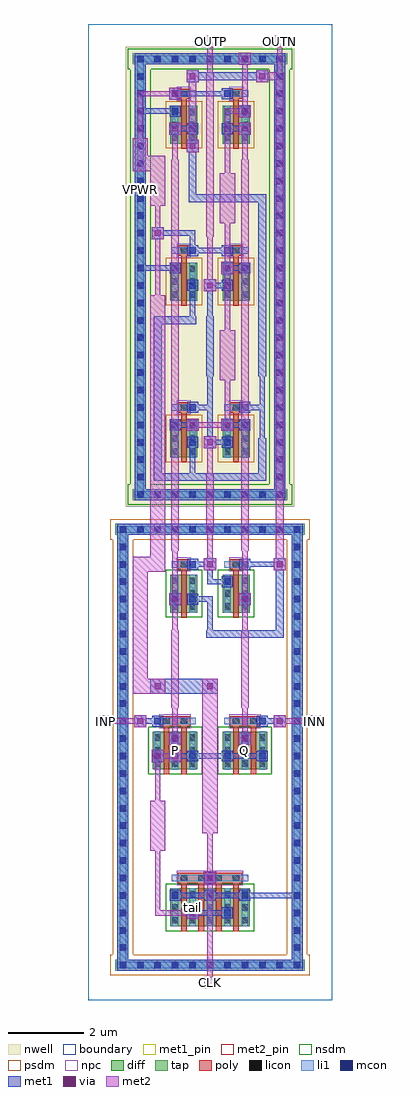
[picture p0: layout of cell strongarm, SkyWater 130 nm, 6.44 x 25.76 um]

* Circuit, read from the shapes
.subckt strongarm CLK INN INP OUTN OUTP P Q VGND VPWR tail
XM1 P INP tail VGND sky130_fd_pr__nfet_01v8 w=1 l=0.15 m=2
XM2 tail CLK VGND VGND sky130_fd_pr__nfet_01v8 w=1 l=0.15 m=4
XM3 OUTN OUTP P VGND sky130_fd_pr__nfet_01v8 w=1 l=0.15
XM4 Q INN tail VGND sky130_fd_pr__nfet_01v8 w=1 l=0.15 m=2
XM5 Q OUTN OUTP VGND sky130_fd_pr__nfet_01v8 w=1 l=0.15
XM6 OUTN OUTP VPWR VPWR sky130_fd_pr__pfet_01v8 w=1 l=0.15
XM7 OUTN CLK VPWR VPWR sky130_fd_pr__pfet_01v8 w=1 l=0.15
XM8 P CLK VPWR VPWR sky130_fd_pr__pfet_01v8 w=1 l=0.15
XM9 VPWR OUTN OUTP VPWR sky130_fd_pr__pfet_01v8 w=1 l=0.15
XM10 VPWR CLK OUTP VPWR sky130_fd_pr__pfet_01v8 w=1 l=0.15
XM11 VPWR CLK Q VPWR sky130_fd_pr__pfet_01v8 w=1 l=0.15
.ends

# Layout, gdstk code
import gdstk
lib = gdstk.Library(unit=1e-6, precision=1e-09)
def R(c, l, rs):  # rectangles x0, y0, x1, y1
    for r in rs: c.add(gdstk.rectangle(r[:2], r[2:], *l))
def A(c, l, x, y, w, h, nx, ny, dx, dy):  # array of equal rectangles
    R(c, l, [(x+i*dx, y+j*dy, x+i*dx+w, y+j*dy+h) for i in range(nx) for j in range(ny)])
nwell = (64, 20)
diff = (65, 20)
tap = (65, 44)
poly = (66, 20)
licon = (66, 44)
li1 = (67, 20)
mcon = (67, 44)
met1_pin = (68, 16)
met1 = (68, 20)
via = (68, 44)
met2_pin = (69, 16)
met2 = (69, 20)
nsdm = (93, 44)
psdm = (94, 20)
npc = (95, 20)
boundary = (235, 4)

strongarm = lib.new_cell('strongarm')
R(strongarm, nwell, [(0.995,13.015,5.445,25.165)])
A(strongarm, diff, 2.175, 14.32, 0.71, 1, 1, 3, 0, 4.14)
A(strongarm, diff, 3.555, 14.32, 0.71, 1, 1, 3, 0, 4.14)
R(strongarm, diff, [(2.175,1.945,4.265,2.945), (1.715,6.085,2.885,7.085), (3.555,6.085,4.725,7.085), (2.175,10.225,2.885,11.225), (3.555,10.225,4.265,11.225)])
R(strongarm, tap, [(0.715,0.775,5.725,1.065), (0.775,0.775,1.065,12.565), (5.375,0.775,5.665,12.565), (0.715,12.275,5.725,12.565), (1.175,13.195,5.265,13.485), (1.235,13.195,1.525,24.985), (4.915,13.195,5.205,24.985), (1.175,24.695,5.265,24.985)])
A(strongarm, poly, 2.455, 1.815, 0.15, 1.405, 4, 1, 0.46, 0)
A(strongarm, poly, 2.365, 11.365, 0.33, 0.27, 1, 4, 0, 4.14)
A(strongarm, poly, 3.745, 11.365, 0.33, 0.27, 1, 4, 0, 4.14)
A(strongarm, poly, 2.455, 14.19, 0.15, 1.45, 1, 3, 0, 4.14)
A(strongarm, poly, 3.835, 14.19, 0.15, 1.45, 1, 3, 0, 4.14)
R(strongarm, poly, [(2.365,3.085,4.075,3.355), (1.995,5.955,2.145,7.36), (2.455,5.955,2.605,7.36), (3.835,5.955,3.985,7.36), (4.295,5.955,4.445,7.36), (1.905,7.225,2.695,7.495), (3.745,7.225,4.535,7.495), (2.455,10.095,2.605,11.5), (3.835,10.095,3.985,11.5)])
A(strongarm, licon, 0.835, 0.835, 0.17, 0.17, 11, 2, 0.46, 11.5)
A(strongarm, licon, 0.835, 1.295, 0.17, 0.17, 1, 24, 0, 0.46)
A(strongarm, licon, 5.435, 1.295, 0.17, 0.17, 1, 24, 0, 0.46)
A(strongarm, licon, 2.215, 2.02, 0.17, 0.17, 5, 3, 0.46, 0.34)
A(strongarm, licon, 2.445, 3.135, 0.17, 0.17, 4, 1, 0.46, 0)
A(strongarm, licon, 1.755, 6.16, 0.17, 0.17, 3, 3, 0.46, 0.34)
A(strongarm, licon, 3.595, 6.16, 0.17, 0.17, 3, 3, 0.46, 0.34)
A(strongarm, licon, 2.445, 7.275, 0.17, 0.17, 1, 5, 0, 4.14)
A(strongarm, licon, 3.825, 7.275, 0.17, 0.17, 1, 5, 0, 4.14)
A(strongarm, licon, 2.215, 10.3, 0.17, 0.17, 1, 3, 0, 0.34)
A(strongarm, licon, 2.675, 10.3, 0.17, 0.17, 1, 3, 0, 0.34)
A(strongarm, licon, 3.595, 10.3, 0.17, 0.17, 1, 3, 0, 0.34)
A(strongarm, licon, 4.055, 10.3, 0.17, 0.17, 1, 3, 0, 0.34)
A(strongarm, licon, 1.295, 13.255, 0.17, 0.17, 9, 2, 0.46, 11.5)
A(strongarm, licon, 1.295, 13.715, 0.17, 0.17, 1, 24, 0, 0.46)
A(strongarm, licon, 4.975, 13.715, 0.17, 0.17, 1, 24, 0, 0.46)
A(strongarm, licon, 2.215, 14.395, 0.17, 0.17, 1, 3, 0, 0.34)
A(strongarm, licon, 2.675, 14.395, 0.17, 0.17, 1, 3, 0, 0.34)
A(strongarm, licon, 3.595, 14.395, 0.17, 0.17, 1, 3, 0, 0.34)
A(strongarm, licon, 4.055, 14.395, 0.17, 0.17, 1, 3, 0, 0.34)
A(strongarm, licon, 2.215, 18.535, 0.17, 0.17, 1, 3, 0, 0.34)
A(strongarm, licon, 2.675, 18.535, 0.17, 0.17, 1, 3, 0, 0.34)
A(strongarm, licon, 3.595, 18.535, 0.17, 0.17, 1, 3, 0, 0.34)
A(strongarm, licon, 4.055, 18.535, 0.17, 0.17, 1, 3, 0, 0.34)
A(strongarm, licon, 2.215, 22.675, 0.17, 0.17, 1, 3, 0, 0.34)
A(strongarm, licon, 2.675, 22.675, 0.17, 0.17, 1, 3, 0, 0.34)
A(strongarm, licon, 3.595, 22.675, 0.17, 0.17, 1, 3, 0, 0.34)
A(strongarm, licon, 4.055, 22.675, 0.17, 0.17, 1, 3, 0, 0.34)
R(strongarm, licon, [(1.985,7.275,2.155,7.445), (4.285,7.275,4.455,7.445)])
A(strongarm, li1, 2.215, 1.94, 0.17, 1.01, 5, 1, 0.46, 0)
A(strongarm, li1, 1.755, 6.08, 0.17, 1.01, 3, 1, 0.46, 0)
A(strongarm, li1, 3.595, 6.08, 0.17, 1.01, 3, 1, 0.46, 0)
A(strongarm, li1, 2.215, 11.415, 0.63, 0.17, 1, 4, 0, 4.14)
A(strongarm, li1, 3.595, 11.415, 0.63, 0.17, 1, 4, 0, 4.14)
A(strongarm, li1, 2.215, 14.315, 0.17, 1.01, 1, 3, 0, 4.14)
A(strongarm, li1, 2.675, 14.315, 0.17, 1.01, 1, 3, 0, 4.14)
A(strongarm, li1, 3.595, 14.315, 0.17, 1.01, 1, 3, 0, 4.14)
A(strongarm, li1, 4.055, 14.315, 0.17, 1.01, 1, 3, 0, 4.14)
R(strongarm, li1, [(0.755,0.835,5.685,1.005), (0.835,0.835,1.005,12.505), (5.435,0.835,5.605,12.505), (2.215,3.135,4.225,3.305), (1.755,7.275,2.845,7.445), (3.595,7.275,4.685,7.445), (2.215,10.22,2.385,11.23), (2.675,10.22,2.845,11.23), (3.595,10.22,3.765,11.23), (4.055,10.22,4.225,11.23), (0.755,12.335,5.685,12.505), (1.215,13.255,5.225,13.425), (1.295,13.255,1.465,24.925), (4.975,13.255,5.145,24.925), (1.215,24.755,5.225,24.925)])
A(strongarm, mcon, 0.835, 0.835, 0.17, 0.17, 11, 2, 0.46, 11.5)
A(strongarm, mcon, 0.835, 1.295, 0.17, 0.17, 1, 4, 0, 0.46)
A(strongarm, mcon, 5.435, 1.295, 0.17, 0.17, 1, 4, 0, 0.46)
A(strongarm, mcon, 2.215, 2.675, 0.17, 0.17, 3, 1, 0.92, 0)
A(strongarm, mcon, 0.835, 3.135, 0.17, 0.17, 3, 1, 2.3, 0)
A(strongarm, mcon, 0.835, 3.595, 0.17, 0.17, 1, 6, 0, 0.46)
A(strongarm, mcon, 5.435, 3.595, 0.17, 0.17, 1, 6, 0, 0.46)
A(strongarm, mcon, 0.835, 6.355, 0.17, 0.17, 6, 1, 0.92, 0)
A(strongarm, mcon, 0.835, 6.815, 0.17, 0.17, 1, 12, 0, 0.46)
A(strongarm, mcon, 5.435, 6.815, 0.17, 0.17, 1, 8, 0, 0.46)
A(strongarm, mcon, 2.675, 10.495, 0.17, 0.17, 3, 2, 1.38, 0.92)
A(strongarm, mcon, 1.295, 13.255, 0.17, 0.17, 9, 2, 0.46, 11.5)
A(strongarm, mcon, 1.295, 13.715, 0.17, 0.17, 1, 4, 0, 0.46)
A(strongarm, mcon, 4.975, 13.715, 0.17, 0.17, 1, 22, 0, 0.46)
A(strongarm, mcon, 2.215, 15.095, 0.17, 0.17, 1, 3, 0, 4.14)
A(strongarm, mcon, 4.055, 15.095, 0.17, 0.17, 1, 3, 0, 4.14)
A(strongarm, mcon, 1.295, 15.555, 0.17, 0.17, 3, 1, 1.38, 0)
A(strongarm, mcon, 1.295, 16.015, 0.17, 0.17, 1, 19, 0, 0.46)
A(strongarm, mcon, 2.215, 23.835, 0.17, 0.17, 3, 1, 1.38, 0)
R(strongarm, mcon, [(2.675,2.215,2.845,2.385), (3.595,2.215,3.765,2.385), (2.215,6.815,2.385,6.985), (4.055,6.815,4.225,6.985), (1.755,7.275,1.925,7.445), (4.515,7.275,4.685,7.445), (2.215,10.495,2.385,10.665), (3.595,10.955,3.765,11.125), (5.435,10.955,5.605,11.125), (5.435,11.875,5.605,12.045), (2.675,14.635,2.845,14.805), (3.595,14.635,3.765,14.805), (2.675,18.775,2.845,18.945), (3.595,18.775,3.765,18.945), (2.675,19.695,2.845,19.865), (3.595,19.695,3.765,19.865), (2.675,22.915,2.845,23.085), (3.595,22.915,3.765,23.085), (4.975,24.295,5.145,24.465)])
R(strongarm, met1_pin, [(2.155,2.615,2.445,2.905), (1.31,19.25,1.45,23.53)])
A(strongarm, met1, 2.155, 2.615, 0.29, 0.29, 3, 1, 0.92, 0)
A(strongarm, met1, 1.695, 6.295, 0.29, 0.29, 4, 1, 0.92, 0)
A(strongarm, met1, 2.155, 15.035, 0.29, 0.29, 1, 3, 0, 4.14)
R(strongarm, met1, [(0.775,0.775,1.065,12.565), (0.775,0.775,5.665,1.065), (5.375,0.775,5.665,12.565), (2.6,2.14,2.92,2.46), (2.615,2.155,2.905,2.445), (3.535,2.155,3.825,2.445), (2.69,2.23,3.75,2.37), (2.23,2.69,3.29,2.83), (3.15,2.69,4.21,2.83), (4.07,2.69,5.59,2.83), (5.45,2.69,5.59,2.83), (5.45,2.69,5.59,12.49), (3.06,3.06,3.38,3.38), (3.075,3.075,3.365,3.365), (1.68,6.28,2,6.6), (2.14,6.28,2.46,6.6), (2.23,6.37,2.83,6.51), (2.69,6.37,3.75,6.51), (3.61,6.37,4.67,6.51), (2.14,6.74,2.46,7.06), (3.98,6.74,4.3,7.06), (2.155,6.755,2.445,7.045), (3.995,6.755,4.285,7.045), (1.22,7.2,1.54,7.52), (4.9,7.2,5.22,7.52), (1.695,7.215,1.985,7.505), (4.455,7.215,4.745,7.505), (1.31,7.29,1.91,7.43), (4.53,7.29,5.13,7.43), (1.64,8.08,2.04,8.48), (1.64,8.08,3.42,8.48), (3.02,8.08,3.42,8.48), (3.12,9.56,5.16,9.76), (4.96,9.56,5.16,11.6), (3.15,9.59,3.29,10.65), (2.14,10.42,2.46,10.74), (3.98,10.42,4.3,10.74), (2.155,10.435,2.445,10.725), (2.615,10.435,2.905,10.725), (3.995,10.435,4.285,10.725), (2.69,10.51,3.29,10.65), (3.535,10.895,3.825,11.185), (3.15,10.97,3.75,11.11), (3.15,10.97,3.29,11.57), (3.06,11.34,3.38,11.66), (4.9,11.34,5.22,11.66), (2.615,11.355,2.905,11.645), (3.995,11.355,4.285,11.645), (2.69,11.43,3.29,11.57), (4.07,11.43,5.13,11.57), (0.775,12.275,5.665,12.565), (5.45,12.35,5.59,12.49), (1.235,13.195,5.205,13.485), (1.235,13.195,1.525,24.985), (4.915,13.195,5.205,24.985), (1.74,13.7,2.86,13.9), (1.74,13.7,1.94,18.04), (2.66,13.7,4.7,13.9), (4.5,13.7,4.7,14.82), (2.69,13.73,2.83,14.79), (3.06,14.56,3.38,14.88), (2.615,14.575,2.905,14.865), (3.535,14.575,3.825,14.865), (3.15,14.65,3.75,14.79), (3.15,14.65,3.29,15.71), (4.53,14.65,4.67,15.71), (2.6,15.02,2.92,15.34), (3.52,15.02,3.84,15.34), (3.995,15.035,4.285,15.325), (2.23,15.11,2.83,15.25), (3.61,15.11,4.21,15.25), (2.615,15.495,2.905,15.785), (3.995,15.495,4.285,15.785), (2.69,15.57,3.29,15.71), (3.15,15.57,3.29,16.63), (4.07,15.57,4.67,15.71), (4.53,15.57,4.67,16.63), (3.12,16.46,3.32,18.04), (4.5,16.46,4.7,21.26), (1.74,17.84,2.86,18.04), (2.69,17.87,2.83,18.93), (3.15,17.87,3.29,18.93), (3.06,18.7,3.38,19.02), (2.615,18.715,2.905,19.005), (3.535,18.715,3.825,19.005), (3.15,18.79,3.75,18.93), (3.52,19.16,3.84,19.48), (3.995,19.175,4.285,19.465), (1.31,19.25,2.37,19.39), (1.31,19.25,1.45,23.53), (3.61,19.25,4.21,19.39), (2.615,19.635,2.905,19.925), (3.535,19.635,3.825,19.925), (2.69,19.71,3.75,19.85), (2.69,19.71,2.83,20.31), (1.68,20.08,2,20.4), (1.77,20.17,2.83,20.31), (2.66,21.06,2.86,22.64), (2.66,21.06,4.7,21.26), (2.6,22.38,2.92,22.7), (2.14,22.84,2.46,23.16), (3.98,22.84,4.3,23.16), (2.615,22.855,2.905,23.145), (3.535,22.855,3.825,23.145), (2.23,22.93,2.83,23.07), (3.61,22.93,4.21,23.07), (3.98,23.3,4.3,23.62), (3.995,23.315,4.285,23.605), (1.31,23.39,2.37,23.53), (1.31,23.39,1.45,23.53), (1.31,23.39,1.45,24.91), (2.14,23.76,2.46,24.08), (2.155,23.775,2.445,24.065), (3.535,23.775,3.825,24.065), (2.23,23.85,3.75,23.99), (2.6,24.22,2.92,24.54), (4.44,24.22,4.76,24.54), (2.66,24.28,4.7,24.48), (3.98,24.68,4.3,25), (1.235,24.695,5.205,24.985), (1.31,24.77,1.45,24.91), (1.31,24.77,4.21,24.91)])
A(strongarm, via, 3.145, 8.205, 0.15, 0.15, 1, 3, 0, 3.22)
R(strongarm, via, [(2.685,2.225,2.835,2.375), (3.145,3.145,3.295,3.295), (1.765,6.365,1.915,6.515), (2.225,6.365,2.375,6.515), (2.225,6.825,2.375,6.975), (4.065,6.825,4.215,6.975), (1.305,7.285,1.455,7.435), (4.985,7.285,5.135,7.435), (1.765,8.205,1.915,8.355), (2.225,10.505,2.375,10.655), (4.065,10.505,4.215,10.655), (4.985,11.425,5.135,11.575), (2.685,15.105,2.835,15.255), (3.605,15.105,3.755,15.255), (3.145,18.785,3.295,18.935), (3.605,19.245,3.755,19.395), (1.765,20.165,1.915,20.315), (2.685,22.465,2.835,22.615), (2.225,22.925,2.375,23.075), (4.065,22.925,4.215,23.075), (4.065,23.385,4.215,23.535), (2.225,23.845,2.375,23.995), (2.685,24.305,2.835,24.455), (4.525,24.305,4.675,24.455), (4.065,24.765,4.215,24.915)])
R(strongarm, met2_pin, [(3.07,0.31,3.37,0.61), (0.31,7.21,0.61,7.51), (5.83,7.21,6.13,7.51), (3.07,25.15,3.37,25.45), (4.91,25.15,5.21,25.45)])
R(strongarm, met2, [(3.07,0.31,3.37,0.61), (3.15,0.39,3.29,0.53), (3.15,0.39,3.29,3.29), (2.6,2.14,2.92,2.46), (1.77,2.23,2.83,2.37), (1.77,2.23,1.91,4.21), (3.06,3.06,3.38,3.38), (3.15,3.15,3.29,4.67), (1.64,3.94,2.04,5.26), (3.02,4.4,3.42,8.48), (1.77,4.99,1.91,6.51), (1.68,6.28,2,6.6), (2.14,6.28,2.46,6.6), (1.77,6.37,2.37,6.51), (2.14,6.74,2.46,7.06), (3.98,6.74,4.3,7.06), (2.23,6.83,2.37,7.89), (4.07,6.83,4.21,7.89), (1.22,7.2,1.54,7.52), (4.9,7.2,5.22,7.52), (0.31,7.21,0.61,7.51), (5.83,7.21,6.13,7.51), (0.39,7.29,0.53,7.43), (0.39,7.29,1.45,7.43), (4.99,7.29,6.05,7.43), (5.91,7.29,6.05,7.43), (2.2,7.72,2.4,9.76), (4.04,7.72,4.24,9.76), (1.18,8.08,2.04,8.48), (1.18,8.08,1.58,11.7), (1.64,8.08,2.04,8.48), (3.02,8.08,3.42,8.48), (2.23,9.59,2.37,10.65), (4.07,9.59,4.21,10.65), (2.14,10.42,2.46,10.74), (3.98,10.42,4.3,10.74), (2.23,10.51,2.37,12.03), (4.07,10.51,4.21,12.03), (1.18,11.3,2.04,11.7), (1.64,11.3,2.04,18.6), (3.06,11.34,3.38,11.66), (4.9,11.34,5.22,11.66), (4.96,11.4,5.16,24.48), (3.15,11.43,3.29,12.49), (2.2,11.86,2.4,22.18), (4.04,11.86,4.24,22.18), (3.12,12.32,3.32,13.9), (3.15,13.73,3.29,14.79), (3.06,14.56,3.38,14.88), (2.6,15.02,2.92,15.34), (3.52,15.02,3.84,15.34), (2.69,15.11,3.75,15.25), (3.61,15.11,3.75,16.63), (3.48,16.36,3.88,17.68), (3.61,17.41,3.75,19.39), (1.77,18.33,1.91,20.31), (3.06,18.7,3.38,19.02), (3.15,18.79,3.29,20.31), (3.52,19.16,3.84,19.48), (3.61,19.25,3.75,20.77), (1.68,20.08,2,20.4), (3.12,20.14,3.32,24.48), (1.77,20.17,1.91,21.23), (3.48,20.5,3.88,21.82), (1.64,20.96,2.04,22.28), (3.61,21.55,3.75,23.53), (1.18,21.88,2.04,22.28), (1.18,21.88,1.58,22.74), (2.23,22.01,2.37,23.07), (4.07,22.01,4.21,23.07), (2.6,22.38,2.92,22.7), (2.66,22.44,2.86,24.48), (1.31,22.47,1.45,23.99), (2.14,22.84,2.46,23.16), (3.98,22.84,4.3,23.16), (3.98,23.3,4.3,23.62), (3.61,23.39,4.21,23.53), (4.07,23.39,4.21,24.91), (2.14,23.76,2.46,24.08), (1.31,23.85,2.37,23.99), (2.6,24.22,2.92,24.54), (4.44,24.22,4.76,24.54), (4.5,24.28,5.16,24.48), (3.15,24.31,3.29,25.37), (4.99,24.31,5.13,25.37), (3.98,24.68,4.3,25), (3.07,25.15,3.37,25.45), (4.91,25.15,5.21,25.45), (3.15,25.23,3.29,25.37), (4.99,25.23,5.13,25.37)])
R(strongarm, nsdm, [(2.05,1.82,4.39,3.07), (1.59,5.96,3.01,7.21), (3.43,5.96,4.85,7.21), (2.05,10.1,3.01,11.35), (3.43,10.1,4.39,11.35), (1.05,13.07,5.39,13.61), (1.11,13.61,1.65,24.57), (4.79,13.61,5.33,24.57), (1.05,24.57,5.39,25.11)])
A(strongarm, psdm, 2.05, 14.195, 0.96, 1.25, 1, 3, 0, 4.14)
A(strongarm, psdm, 3.43, 14.195, 0.96, 1.25, 1, 3, 0, 4.14)
R(strongarm, psdm, [(0.59,0.65,5.85,1.19), (0.65,1.19,1.19,12.15), (5.25,1.19,5.79,12.15), (0.59,12.15,5.85,12.69)])
A(strongarm, npc, 2.345, 11.315, 0.37, 0.37, 1, 4, 0, 4.14)
A(strongarm, npc, 3.725, 11.315, 0.37, 0.37, 1, 4, 0, 4.14)
R(strongarm, npc, [(2.345,3.035,4.095,3.405), (1.885,7.175,2.715,7.545), (3.725,7.175,4.555,7.545)])
R(strongarm, boundary, [(0,0,6.44,25.76)])
strongarm.add(gdstk.Label('tail', (2.76,2.445), layer=67, texttype=5))
strongarm.add(gdstk.Label('P', (2.3,6.585), layer=67, texttype=5))
strongarm.add(gdstk.Label('Q', (4.14,6.585), layer=67, texttype=5))
strongarm.add(gdstk.Label('VPWR', (1.38,21.39), layer=68, texttype=5))
strongarm.add(gdstk.Label('VGND', (2.3,2.76), layer=68, texttype=5))
strongarm.add(gdstk.Label('CLK', (3.22,0.46), layer=69, texttype=5))
strongarm.add(gdstk.Label('INP', (0.46,7.36), layer=69, texttype=5))
strongarm.add(gdstk.Label('INN', (5.98,7.36), layer=69, texttype=5))
strongarm.add(gdstk.Label('OUTP', (3.22,25.3), layer=69, texttype=5))
strongarm.add(gdstk.Label('OUTN', (5.06,25.3), layer=69, texttype=5))
strongarm.add(gdstk.Label('VPWR', (1.38,21.39), layer=68, texttype=16))
strongarm.add(gdstk.Label('VGND', (2.3,2.76), layer=68, texttype=16))
strongarm.add(gdstk.Label('CLK', (3.22,0.46), layer=69, texttype=16))
strongarm.add(gdstk.Label('INP', (0.46,7.36), layer=69, texttype=16))
strongarm.add(gdstk.Label('INN', (5.98,7.36), layer=69, texttype=16))
strongarm.add(gdstk.Label('OUTP', (3.22,25.3), layer=69, texttype=16))
strongarm.add(gdstk.Label('OUTN', (5.06,25.3), layer=69, texttype=16))

lib.write_gds('strongarm.gds')
